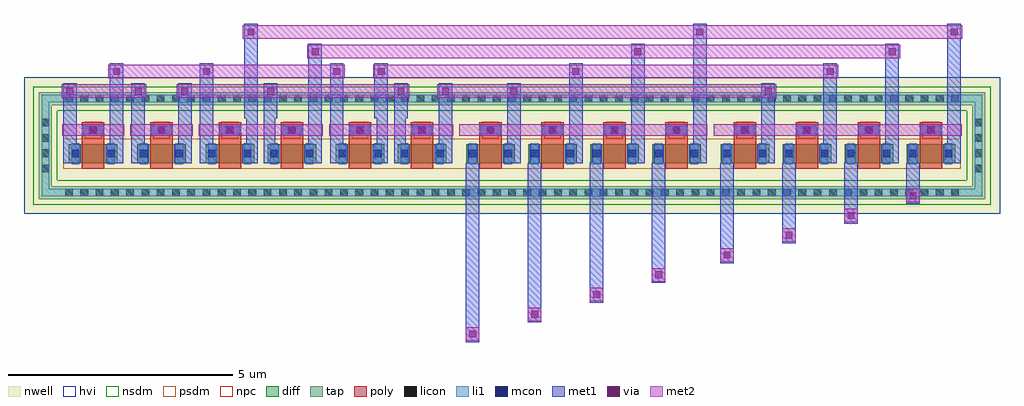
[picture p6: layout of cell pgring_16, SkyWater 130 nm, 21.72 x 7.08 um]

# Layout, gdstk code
import gdstk
lib = gdstk.Library(unit=1e-6, precision=1e-09)
def R(c, l, rs):  # rectangles x0, y0, x1, y1
    for r in rs: c.add(gdstk.rectangle(r[:2], r[2:], *l))
def A(c, l, x, y, w, h, nx, ny, dx, dy):  # array of equal rectangles
    R(c, l, [(x+i*dx, y+j*dy, x+i*dx+w, y+j*dy+h) for i in range(nx) for j in range(ny)])
nwell = (64, 20)
diff = (65, 20)
tap = (65, 44)
poly = (66, 20)
licon = (66, 44)
li1 = (67, 20)
mcon = (67, 44)
met1 = (68, 20)
via = (68, 44)
met2 = (69, 20)
hvi = (75, 20)
nsdm = (93, 44)
psdm = (94, 20)
npc = (95, 20)

sky130_fd_pr__pfet_g5v0d = lib.new_cell('sky130_fd_pr__pfet_g5v0d10v5_WJ97JY')
R(sky130_fd_pr__pfet_g5v0d, nwell, [(-0.72,-0.7,0.72,0.53)])
R(sky130_fd_pr__pfet_g5v0d, diff, [(-0.54,-0.39,0.54,0.03)])
R(sky130_fd_pr__pfet_g5v0d, poly, [(-0.25,-0.52,0.25,0.515)])
R(sky130_fd_pr__pfet_g5v0d, licon, [(-0.48,-0.265,-0.31,-0.095), (0.31,-0.265,0.48,-0.095), (-0.085,0.265,0.085,0.435)])
R(sky130_fd_pr__pfet_g5v0d, li1, [(-0.48,-0.41,-0.31,0.05), (0.31,-0.41,0.48,0.05), (-0.25,0.265,0.25,0.435)])
R(sky130_fd_pr__pfet_g5v0d, mcon, [(-0.48,-0.265,-0.31,-0.095), (0.31,-0.265,0.48,-0.095), (-0.085,0.265,0.085,0.435)])
R(sky130_fd_pr__pfet_g5v0d, met1, [(-0.51,-0.39,-0.28,0.03), (0.28,-0.39,0.51,0.03), (-0.23,0.235,0.23,0.465)])
R(sky130_fd_pr__pfet_g5v0d, hvi, [(-0.72,-0.7,0.72,-0.6), (-1.145,-0.6,1.145,0.24), (-0.72,0.24,0.72,0.53)])
R(sky130_fd_pr__pfet_g5v0d, psdm, [(-0.665,-0.515,0.665,0.155)])
R(sky130_fd_pr__pfet_g5v0d, npc, [(-0.185,0.165,0.185,0.535)])

hpmos_1 = lib.new_cell('hpmos_1')
R(hpmos_1, met1, [(9.99,-15.165,10.31,-14.905)])
R(hpmos_1, via, [(10.075,-15.11,10.225,-14.96)])
R(hpmos_1, met2, [(9.46,-15.165,10.84,-14.905)])
hpmos_1.add(gdstk.Reference(sky130_fd_pr__pfet_g5v0d, (10.15,-15.385)))

hpmos_2 = lib.new_cell('hpmos_2')
R(hpmos_2, psdm, [(12.36,-15.745,12.41,-15.075)])
hpmos_2.add(gdstk.Reference(hpmos_1, (2.925,0.155)))
hpmos_2.add(gdstk.Reference(hpmos_1, (1.545,0.155)))

hpmos_4 = lib.new_cell('hpmos_4')
R(hpmos_4, psdm, [(4.805,0.36,4.855,1.03)])
hpmos_4.add(gdstk.Reference(hpmos_2, (-6.175,16.105)))
hpmos_4.add(gdstk.Reference(hpmos_2, (-8.935,16.105)))

pswitch_4_stage_3_h = lib.new_cell('pswitch_4_stage_3_H')
R(pswitch_4_stage_3_h, met1, [(0.315,-1.875,0.615,0.35), (1.695,-1.435,1.995,0.35), (3.075,-0.995,3.375,0.355), (4.455,-0.555,4.755,0.35), (1.23,0.35,1.53,2.13), (2.61,0.35,2.91,2.57), (3.99,0.35,4.29,3.01), (5.37,0.35,5.67,3.45)])
R(pswitch_4_stage_3_h, via, [(0.39,-1.77,0.54,-1.62), (1.77,-1.33,1.92,-1.18), (3.15,-0.89,3.3,-0.74), (4.53,-0.45,4.68,-0.3), (1.305,1.875,1.455,2.025), (2.685,2.315,2.835,2.465), (4.065,2.755,4.215,2.905), (5.445,3.195,5.595,3.345)])
R(pswitch_4_stage_3_h, met2, [(0.315,-1.845,0.615,-1.545), (1.695,-1.405,1.995,-1.105), (3.075,-0.965,3.375,-0.665), (4.455,-0.525,4.755,-0.225), (1.23,1.8,1.53,2.1), (2.61,2.24,2.91,2.54), (3.99,2.68,4.29,2.98), (5.37,3.12,5.67,3.42)])
pswitch_4_stage_3_h.add(gdstk.Reference(hpmos_4, (-1.9,-0.135)))

pswitch_4_stage_3 = lib.new_cell('pswitch_4_stage_3')
R(pswitch_4_stage_3, met1, [(0.315,-3.635,0.615,0.35), (1.695,-3.195,1.995,0.35), (3.075,-2.755,3.375,0.355), (4.455,-2.315,4.755,0.35), (1.23,0.35,1.53,2.13), (2.61,0.35,2.91,2.57), (3.99,0.35,4.29,3.01), (5.37,0.35,5.67,3.45)])
R(pswitch_4_stage_3, via, [(0.39,-3.53,0.54,-3.38), (1.77,-3.09,1.92,-2.94), (3.15,-2.65,3.3,-2.5), (4.53,-2.21,4.68,-2.06), (1.305,1.875,1.455,2.025), (2.685,2.315,2.835,2.465), (4.065,2.755,4.215,2.905), (5.445,3.195,5.595,3.345)])
R(pswitch_4_stage_3, met2, [(0.315,-3.605,0.615,-3.305), (1.695,-3.165,1.995,-2.865), (3.075,-2.725,3.375,-2.425), (4.455,-2.285,4.755,-1.985), (1.23,1.8,1.53,2.1), (2.61,2.24,2.91,2.54), (3.99,2.68,4.29,2.98), (5.37,3.12,5.67,3.42)])
pswitch_4_stage_3.add(gdstk.Reference(hpmos_4, (-1.9,-0.135)))

pswitch_16_final = lib.new_cell('pswitch_16_final')
R(pswitch_16_final, nwell, [(174.85,-23.535,196.57,-20.495)])
R(pswitch_16_final, tap, [(175.18,-23.205,196.24,-22.915), (175.18,-22.915,175.47,-21.115), (195.95,-22.915,196.24,-21.115), (175.18,-21.115,196.24,-20.825)])
A(pswitch_16_final, licon, 175.765, -23.145, 0.17, 0.17, 59, 2, 0.34, 2.09)
A(pswitch_16_final, licon, 175.24, -22.61, 0.17, 0.17, 1, 4, 0, 0.34)
A(pswitch_16_final, licon, 196.01, -22.61, 0.17, 0.17, 1, 4, 0, 0.34)
R(pswitch_16_final, li1, [(175.24,-23.145,196.18,-22.975), (175.24,-22.975,175.41,-21.055), (196.01,-22.975,196.18,-21.055), (175.24,-21.055,196.18,-20.885)])
R(pswitch_16_final, met1, [(175.72,-22.405,176.02,-20.625), (176.76,-22.405,177.06,-20.185), (177.24,-22.405,177.54,-20.625), (178.28,-22.405,178.58,-20.625), (178.76,-22.405,179.06,-20.185), (179.75,-22.405,180.05,-21.965), (180.19,-22.405,180.49,-21.965), (181.18,-22.405,181.48,-19.745), (181.66,-22.405,181.96,-20.185), (182.65,-22.405,182.95,-21.965), (183.09,-22.405,183.39,-21.965), (184.08,-22.405,184.38,-20.625), (179.8,-21.965,180.05,-21.41), (180.19,-21.965,180.44,-21.41), (182.7,-21.965,182.95,-21.41), (183.09,-21.965,183.34,-21.41), (179.75,-21.41,180.05,-19.305), (180.19,-21.41,180.49,-20.625), (182.65,-21.41,182.95,-20.185), (183.09,-21.41,183.39,-20.625)])
R(pswitch_16_final, via, [(175.795,-20.88,175.945,-20.73), (177.315,-20.88,177.465,-20.73), (178.355,-20.88,178.505,-20.73), (180.265,-20.88,180.415,-20.73), (183.165,-20.88,183.315,-20.73), (184.155,-20.88,184.305,-20.73), (176.835,-20.44,176.985,-20.29), (178.835,-20.44,178.985,-20.29), (181.735,-20.44,181.885,-20.29), (182.725,-20.44,182.875,-20.29), (181.255,-20,181.405,-19.85), (179.825,-19.56,179.975,-19.41)])
R(pswitch_16_final, met2, [(175.69,-20.955,177.57,-20.655), (178.25,-20.955,183.42,-20.655), (184.05,-20.955,191.59,-20.655), (176.73,-20.515,181.99,-20.215), (182.62,-20.515,192.97,-20.215), (181.15,-20.075,194.35,-19.775), (179.72,-19.635,195.73,-19.335)])
R(pswitch_16_final, hvi, [(174.85,-23.535,196.57,-20.495)])
R(pswitch_16_final, nsdm, [(175.055,-23.33,196.365,-22.79), (175.055,-22.79,175.595,-21.24), (195.825,-22.79,196.365,-21.24), (175.055,-21.24,196.365,-20.7)])
A(pswitch_16_final, psdm, 178.575, -22.53, 0.19, 0.67, 3, 1, 2.9, 0)
R(pswitch_16_final, psdm, [(177.055,-22.53,177.245,-21.86), (190.035,-22.53,190.225,-21.86)])
pswitch_16_final.add(gdstk.Reference(pswitch_4_stage_3_h, (190.03,-22.755)))
pswitch_16_final.add(gdstk.Reference(pswitch_4_stage_3, (184.37,-22.755)))
pswitch_16_final.add(gdstk.Reference(hpmos_2, (167.735,-6.785)))
pswitch_16_final.add(gdstk.Reference(hpmos_2, (170.635,-6.785)))
pswitch_16_final.add(gdstk.Reference(hpmos_1, (167.76,-6.63)))
pswitch_16_final.add(gdstk.Reference(hpmos_1, (166.24,-6.63)))

pgring_16 = lib.new_cell('pgring_16')
R(pgring_16, nwell, [(185.93,-20.905,207.65,-17.865)])
R(pgring_16, tap, [(186.26,-20.575,207.32,-20.285), (186.26,-20.285,186.55,-18.485), (207.03,-20.285,207.32,-18.485), (186.26,-18.485,207.32,-18.195)])
A(pgring_16, licon, 186.845, -20.515, 0.17, 0.17, 59, 2, 0.34, 2.09)
A(pgring_16, licon, 186.32, -19.98, 0.17, 0.17, 1, 4, 0, 0.34)
A(pgring_16, licon, 207.09, -19.98, 0.17, 0.17, 1, 4, 0, 0.34)
R(pgring_16, li1, [(186.32,-20.515,207.26,-20.345), (186.32,-20.345,186.49,-18.425), (207.09,-20.345,207.26,-18.425), (186.32,-18.425,207.26,-18.255)])
R(pgring_16, hvi, [(185.93,-20.905,207.65,-17.865)])
R(pgring_16, nsdm, [(186.135,-20.7,207.445,-20.16), (186.135,-20.16,186.675,-18.61), (206.905,-20.16,207.445,-18.61), (186.135,-18.61,207.445,-18.07)])
pgring_16.add(gdstk.Reference(pswitch_16_final, (11.08,2.63)))

lib.write_gds('pgring_16.gds')
